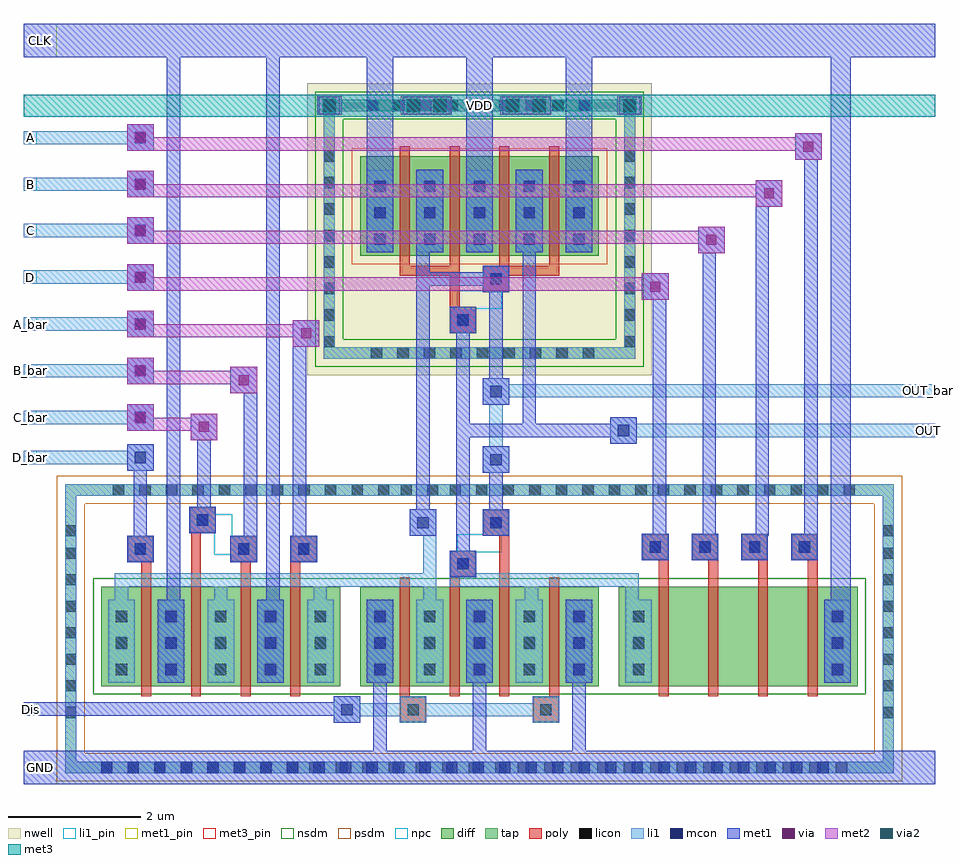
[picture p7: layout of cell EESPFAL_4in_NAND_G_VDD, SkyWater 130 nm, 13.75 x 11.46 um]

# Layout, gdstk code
import gdstk
lib = gdstk.Library(unit=1e-6, precision=1e-09)
def R(c, l, rs):  # rectangles x0, y0, x1, y1
    for r in rs: c.add(gdstk.rectangle(r[:2], r[2:], *l))
def A(c, l, x, y, w, h, nx, ny, dx, dy):  # array of equal rectangles
    R(c, l, [(x+i*dx, y+j*dy, x+i*dx+w, y+j*dy+h) for i in range(nx) for j in range(ny)])
nwell = (64, 20)
diff = (65, 20)
tap = (65, 44)
poly = (66, 20)
licon = (66, 44)
li1_pin = (67, 16)
li1 = (67, 20)
mcon = (67, 44)
met1_pin = (68, 16)
met1 = (68, 20)
via = (68, 44)
met2 = (69, 20)
via2 = (69, 44)
met3_pin = (70, 16)
met3 = (70, 20)
nsdm = (93, 44)
psdm = (94, 20)
npc = (95, 20)

eespfal_4in_nand_g_vdd = lib.new_cell('EESPFAL_4in_NAND_G_VDD')
R(eespfal_4in_nand_g_vdd, nwell, [(-28.8,5.91,-23.6,10.31)])
A(eespfal_4in_nand_g_vdd, diff, -31.9, 1.22, 3.6, 1.5, 3, 1, 3.9, 0)
R(eespfal_4in_nand_g_vdd, diff, [(-28,7.71,-24.4,9.21)])
R(eespfal_4in_nand_g_vdd, tap, [(-32.45,-0.09,-19.95,0.08), (-32.45,0.08,-32.28,4.095), (-20.12,0.08,-19.95,4.095), (-32.45,4.095,-19.95,4.265), (-28.55,6.16,-23.85,6.33), (-28.55,6.33,-28.38,9.89), (-24.02,6.33,-23.85,9.89), (-28.55,9.89,-23.85,10.06)])
A(eespfal_4in_nand_g_vdd, poly, -23.5, 1.07, 0.15, 2.05, 4, 1, 0.75, 0)
A(eespfal_4in_nand_g_vdd, poly, -23.75, 3.12, 0.4, 0.4, 4, 1, 0.75, 0)
A(eespfal_4in_nand_g_vdd, poly, -27.4, 7.56, 0.15, 1.8, 4, 1, 0.75, 0)
R(eespfal_4in_nand_g_vdd, poly, [(-27.4,0.665,-27,1.065), (-25.4,0.665,-25,1.065), (-27.4,1.065,-27.25,2.865), (-26.65,1.065,-26.5,2.865), (-25.9,1.065,-25.75,3.485), (-25.15,1.065,-25,2.865), (-31.3,1.07,-31.15,3.09), (-30.55,1.07,-30.4,3.525), (-29.8,1.07,-29.65,3.09), (-29.05,1.07,-28.9,3.09), (-26.65,2.865,-26.25,3.265), (-31.515,3.09,-31.115,3.49), (-29.955,3.09,-29.555,3.49), (-29.05,3.09,-28.65,3.49), (-26.15,3.485,-25.75,3.885), (-30.575,3.525,-30.175,3.925), (-26.65,6.54,-26.25,6.94), (-26.65,6.94,-26.5,7.41), (-26.15,7.16,-25.75,7.41), (-27.4,7.41,-26.5,7.56), (-26.15,7.41,-25,7.56)])
A(eespfal_4in_nand_g_vdd, licon, -31.905, -0.09, 0.17, 0.17, 8, 1, 0.4, 0)
A(eespfal_4in_nand_g_vdd, licon, -28.765, -0.09, 0.17, 0.17, 8, 1, 0.4, 0)
A(eespfal_4in_nand_g_vdd, licon, -25.625, -0.09, 0.17, 0.17, 13, 1, 0.4, 0)
A(eespfal_4in_nand_g_vdd, licon, -32.45, 0.74, 0.17, 0.17, 1, 7, 0, 0.4)
A(eespfal_4in_nand_g_vdd, licon, -20.12, 0.74, 0.17, 0.17, 1, 7, 0, 0.4)
A(eespfal_4in_nand_g_vdd, licon, -31.685, 1.385, 0.17, 0.17, 5, 3, 0.75, 0.4)
A(eespfal_4in_nand_g_vdd, licon, -27.785, 1.385, 0.17, 0.17, 5, 3, 0.75, 0.4)
A(eespfal_4in_nand_g_vdd, licon, -23.885, 1.385, 0.17, 0.17, 1, 3, 0, 0.4)
A(eespfal_4in_nand_g_vdd, licon, -20.885, 1.385, 0.17, 0.17, 1, 3, 0, 0.4)
A(eespfal_4in_nand_g_vdd, licon, -23.635, 3.235, 0.17, 0.17, 4, 1, 0.75, 0)
A(eespfal_4in_nand_g_vdd, licon, -31.73, 4.095, 0.17, 0.17, 11, 1, 0.4, 0)
A(eespfal_4in_nand_g_vdd, licon, -26.65, 4.095, 0.17, 0.17, 8, 1, 0.4, 0)
A(eespfal_4in_nand_g_vdd, licon, -23.51, 4.095, 0.17, 0.17, 8, 1, 0.4, 0)
A(eespfal_4in_nand_g_vdd, licon, -27.84, 6.16, 0.17, 0.17, 9, 1, 0.4, 0)
A(eespfal_4in_nand_g_vdd, licon, -28.55, 6.33, 0.17, 0.17, 1, 8, 0, 0.4)
A(eespfal_4in_nand_g_vdd, licon, -24.02, 6.33, 0.17, 0.17, 1, 8, 0, 0.4)
A(eespfal_4in_nand_g_vdd, licon, -27.785, 7.875, 0.17, 0.17, 5, 3, 0.75, 0.4)
A(eespfal_4in_nand_g_vdd, licon, -27.9, 9.89, 0.17, 0.17, 9, 1, 0.4, 0)
R(eespfal_4in_nand_g_vdd, licon, [(-27.285,0.78,-27.115,0.95), (-25.285,0.78,-25.115,0.95), (-26.535,2.98,-26.365,3.15), (-31.4,3.205,-31.23,3.375), (-29.84,3.205,-29.67,3.375), (-28.935,3.205,-28.765,3.375), (-32.45,3.48,-32.28,3.65), (-20.12,3.48,-19.95,3.65), (-26.035,3.6,-25.865,3.77), (-30.46,3.64,-30.29,3.81), (-27.39,4.095,-27.22,4.265), (-26.99,4.095,-26.82,4.265), (-26.535,6.655,-26.365,6.825), (-26.035,7.275,-25.865,7.445)])
A(eespfal_4in_nand_g_vdd, li1_pin, -33.075, 5.17, 0.2, 0.2, 1, 3, 0, 0.705)
A(eespfal_4in_nand_g_vdd, li1_pin, -33.075, 7.29, 0.2, 0.2, 1, 4, 0, 0.7)
R(eespfal_4in_nand_g_vdd, li1_pin, [(-33.075,4.57,-32.875,4.77), (-19.525,4.975,-19.325,5.175), (-19.525,5.575,-19.325,5.775)])
A(eespfal_4in_nand_g_vdd, li1, -31.8, 1.27, 0.4, 1.25, 5, 1, 0.75, 0)
A(eespfal_4in_nand_g_vdd, li1, -27.9, 1.27, 0.4, 1.25, 5, 2, 0.75, 6.49)
A(eespfal_4in_nand_g_vdd, li1, -31.7, 2.52, 0.2, 0.2, 3, 1, 1.5, 0)
A(eespfal_4in_nand_g_vdd, li1, -23.75, 3.12, 0.4, 0.4, 4, 1, 0.75, 0)
A(eespfal_4in_nand_g_vdd, li1, -31.515, 4.47, 0.4, 0.1, 1, 4, 0, 0.3)
A(eespfal_4in_nand_g_vdd, li1, -33.075, 5.17, 1.96, 0.2, 1, 3, 0, 0.705)
A(eespfal_4in_nand_g_vdd, li1, -33.075, 7.29, 1.96, 0.2, 1, 4, 0, 0.7)
R(eespfal_4in_nand_g_vdd, li1, [(-32.45,-0.09,-19.95,0.08), (-32.45,0.08,-32.28,4.095), (-20.12,0.08,-19.95,4.095), (-28.4,0.665,-28,0.765), (-27.4,0.665,-27,0.765), (-25.4,0.665,-25,0.765), (-28.4,0.765,-25,0.965), (-28.4,0.965,-28,1.065), (-27.4,0.965,-27,1.065), (-25.4,0.965,-25,1.065), (-24,1.27,-23.6,2.52), (-21,1.27,-20.6,2.52), (-27.05,2.52,-26.85,2.72), (-25.515,2.52,-25.315,2.72), (-24,2.52,-23.8,2.72), (-31.7,2.72,-26.85,2.92), (-26.65,2.72,-23.8,2.92), (-27.05,2.92,-26.85,3.485), (-26.65,2.92,-26.25,3.265), (-31.515,3.09,-31.115,3.49), (-29.955,3.09,-29.555,3.49), (-29.05,3.09,-28.65,3.49), (-27.25,3.485,-26.85,3.885), (-26.15,3.485,-25.75,3.885), (-30.575,3.525,-30.175,3.925), (-32.45,4.095,-19.95,4.265), (-26.15,4.435,-25.75,4.835), (-33.075,4.57,-31.115,4.77), (-26.05,4.835,-25.85,5.465), (-24.23,4.875,-23.83,4.975), (-24.23,4.975,-19.325,5.175), (-24.23,5.175,-23.83,5.275), (-26.15,5.465,-25.75,5.575), (-26.15,5.575,-19.325,5.775), (-31.515,5.775,-31.115,5.875), (-26.15,5.775,-25.75,5.865), (-31.515,6.075,-31.115,6.175), (-28.55,6.16,-23.85,6.33), (-28.55,6.33,-28.38,9.89), (-24.02,6.33,-23.85,9.89), (-31.515,6.48,-31.115,6.58), (-26.65,6.54,-26.25,6.94), (-31.515,6.78,-31.115,6.88), (-26.15,7.16,-25.75,7.56), (-31.515,7.185,-31.115,7.29), (-31.515,7.49,-31.115,7.585), (-31.515,7.89,-31.115,7.99), (-31.515,8.19,-31.115,8.29), (-31.515,8.59,-31.115,8.69), (-31.515,8.89,-31.115,8.99), (-31.515,9.295,-31.115,9.39), (-31.515,9.59,-31.115,9.695), (-28.55,9.89,-23.85,10.06)])
A(eespfal_4in_nand_g_vdd, mcon, -31.905, -0.09, 0.17, 0.17, 28, 1, 0.4, 0)
A(eespfal_4in_nand_g_vdd, mcon, -30.935, 1.385, 0.17, 0.17, 1, 3, 0, 0.4)
A(eespfal_4in_nand_g_vdd, mcon, -29.435, 1.385, 0.17, 0.17, 1, 3, 0, 0.4)
A(eespfal_4in_nand_g_vdd, mcon, -27.785, 1.385, 0.17, 0.17, 3, 3, 1.5, 0.4)
A(eespfal_4in_nand_g_vdd, mcon, -20.885, 1.385, 0.17, 0.17, 1, 3, 0, 0.4)
A(eespfal_4in_nand_g_vdd, mcon, -23.635, 3.235, 0.17, 0.17, 4, 1, 0.75, 0)
A(eespfal_4in_nand_g_vdd, mcon, -31.4, 5.185, 0.17, 0.17, 1, 5, 0, 0.705)
A(eespfal_4in_nand_g_vdd, mcon, -27.785, 7.875, 0.17, 0.17, 5, 3, 0.75, 0.4)
R(eespfal_4in_nand_g_vdd, mcon, [(-28.285,0.78,-28.115,0.95), (-26.535,2.98,-26.365,3.15), (-31.4,3.205,-31.23,3.375), (-29.84,3.205,-29.67,3.375), (-28.935,3.205,-28.765,3.375), (-27.135,3.6,-26.965,3.77), (-26.035,3.6,-25.865,3.77), (-30.46,3.64,-30.29,3.81), (-26.035,4.55,-25.865,4.72), (-31.4,4.585,-31.23,4.755), (-24.115,4.99,-23.945,5.16), (-26.035,5.58,-25.865,5.75), (-26.535,6.655,-26.365,6.825), (-26.035,7.275,-25.865,7.445), (-31.4,8.705,-31.23,8.875), (-31.4,9.41,-31.23,9.58), (-28.55,9.89,-28.38,10.06), (-27.285,9.89,-27.115,10.06), (-26.885,9.89,-26.715,10.06), (-25.785,9.89,-25.615,10.06), (-25.385,9.89,-25.215,10.06), (-24.02,9.89,-23.85,10.06)])
R(eespfal_4in_nand_g_vdd, met1_pin, [(-33.075,-0.255,-32.575,0.245), (-33.075,0.775,-32.875,0.975), (-33.075,10.705,-32.575,11.205)])
A(eespfal_4in_nand_g_vdd, met1, -27.8, 0.245, 0.2, 1.025, 3, 1, 1.5, 0)
A(eespfal_4in_nand_g_vdd, met1, -27.9, 1.27, 0.4, 1.25, 3, 1, 1.5, 0)
A(eespfal_4in_nand_g_vdd, met1, -31.515, 5.07, 0.4, 0.4, 1, 5, 0, 0.705)
A(eespfal_4in_nand_g_vdd, met1, -27.9, 7.76, 0.4, 2.945, 3, 1, 1.5, 0)
R(eespfal_4in_nand_g_vdd, met1, [(-33.075,-0.255,-19.325,0.245), (-28.4,0.665,-28,0.775), (-33.075,0.775,-28,0.975), (-28.4,0.975,-28,1.065), (-31.05,1.27,-30.65,2.52), (-29.55,1.27,-29.15,2.52), (-21,1.27,-20.6,2.52), (-30.915,2.52,-30.715,10.705), (-29.415,2.52,-29.215,10.705), (-20.9,2.52,-20.6,10.705), (-26.65,2.865,-26.25,3.265), (-31.515,3.09,-31.115,3.49), (-29.955,3.09,-29.555,3.49), (-29.05,3.09,-28.65,3.49), (-23.75,3.12,-23.35,3.52), (-23,3.12,-22.6,3.52), (-22.25,3.12,-21.85,3.49), (-21.5,3.12,-21.1,3.52), (-26.55,3.265,-26.35,4.975), (-27.25,3.485,-26.85,3.885), (-26.15,3.485,-25.75,3.885), (-31.415,3.49,-31.215,4.47), (-29.755,3.49,-29.555,5.635), (-29.015,3.49,-28.815,6.34), (-22.25,3.49,-21.835,3.52), (-23.585,3.52,-23.385,7.045), (-22.835,3.52,-22.635,7.75), (-22.035,3.52,-21.835,8.45), (-21.3,3.52,-21.1,9.155), (-30.575,3.525,-30.175,3.925), (-27.15,3.885,-26.95,7.26), (-26.05,3.885,-25.85,4.435), (-30.455,3.925,-30.255,4.93), (-26.15,4.435,-25.75,4.835), (-31.515,4.47,-31.115,4.87), (-24.23,4.875,-23.83,4.975), (-30.555,4.93,-30.155,5.33), (-26.55,4.975,-23.83,5.175), (-26.55,5.175,-26.35,6.54), (-25.55,5.175,-25.35,7.76), (-24.23,5.175,-23.83,5.275), (-26.15,5.465,-25.75,5.865), (-29.955,5.635,-29.555,6.035), (-26.05,5.865,-25.85,7.16), (-29.015,6.34,-28.615,6.74), (-26.65,6.54,-26.25,6.94), (-23.75,7.045,-23.35,7.445), (-26.15,7.16,-25.75,7.26), (-27.15,7.26,-25.75,7.46), (-27.15,7.46,-26.95,7.76), (-26.15,7.46,-25.75,7.56), (-22.905,7.75,-22.505,8.15), (-27.15,7.76,-26.75,9.01), (-25.65,7.76,-25.25,9.01), (-22.035,8.45,-21.635,8.85), (-31.515,8.59,-31.115,8.99), (-21.44,9.155,-21.04,9.555), (-31.515,9.295,-31.115,9.695), (-28.625,9.845,-28.305,10.105), (-27.36,9.845,-26.625,10.105), (-25.86,9.845,-25.125,10.105), (-24.095,9.845,-23.775,10.105), (-33.075,10.705,-19.325,11.205)])
A(eespfal_4in_nand_g_vdd, via, -31.39, 5.195, 0.15, 0.15, 1, 5, 0, 0.705)
R(eespfal_4in_nand_g_vdd, via, [(-30.43,5.055,-30.28,5.205), (-29.83,5.76,-29.68,5.91), (-28.89,6.465,-28.74,6.615), (-23.625,7.17,-23.475,7.32), (-22.78,7.875,-22.63,8.025), (-21.91,8.575,-21.76,8.725), (-31.39,8.715,-31.24,8.865), (-21.315,9.28,-21.165,9.43), (-31.39,9.42,-31.24,9.57), (-28.54,9.9,-28.39,10.05), (-27.275,9.9,-27.125,10.05), (-26.875,9.9,-26.725,10.05), (-25.775,9.9,-25.625,10.05), (-25.375,9.9,-25.225,10.05), (-24.01,9.9,-23.86,10.05)])
A(eespfal_4in_nand_g_vdd, met2, -31.515, 5.27, 0.4, 0.2, 1, 5, 0, 0.705)
R(eespfal_4in_nand_g_vdd, met2, [(-30.555,4.93,-30.155,5.07), (-31.515,5.07,-30.155,5.27), (-30.555,5.27,-30.155,5.33), (-29.955,5.635,-29.555,5.775), (-31.515,5.775,-29.555,5.975), (-29.955,5.975,-29.555,6.035), (-29.015,6.34,-28.615,6.48), (-31.515,6.48,-28.615,6.68), (-29.015,6.68,-28.615,6.74), (-23.75,7.045,-23.35,7.185), (-31.515,7.185,-23.35,7.385), (-23.75,7.385,-23.35,7.445), (-22.905,7.75,-22.505,7.89), (-31.515,7.89,-22.505,8.09), (-22.905,8.09,-22.505,8.15), (-22.035,8.45,-21.635,8.59), (-31.515,8.59,-21.635,8.79), (-31.515,8.79,-31.115,8.99), (-22.035,8.79,-21.635,8.85), (-21.44,9.155,-21.04,9.295), (-31.515,9.295,-21.04,9.495), (-31.515,9.495,-31.115,9.695), (-21.44,9.495,-21.04,9.555), (-28.65,9.835,-28.28,10.115), (-27.385,9.835,-26.615,10.115), (-25.885,9.835,-25.115,10.115), (-24.12,9.835,-23.75,10.115)])
R(eespfal_4in_nand_g_vdd, via2, [(-28.565,9.875,-28.365,10.075), (-27.3,9.875,-27.1,10.075), (-26.9,9.875,-26.7,10.075), (-25.8,9.875,-25.6,10.075), (-25.4,9.875,-25.2,10.075), (-24.035,9.875,-23.835,10.075)])
R(eespfal_4in_nand_g_vdd, met3_pin, [(-33.075,9.81,-19.325,10.14)])
R(eespfal_4in_nand_g_vdd, met3, [(-33.075,9.81,-19.325,10.14)])
R(eespfal_4in_nand_g_vdd, nsdm, [(-32.025,1.095,-20.375,2.845), (-28.675,6.035,-23.725,6.455), (-28.675,6.455,-28.255,9.765), (-24.145,6.455,-23.725,9.765), (-28.675,9.765,-23.725,10.185)])
R(eespfal_4in_nand_g_vdd, psdm, [(-32.575,-0.215,-19.825,0.205), (-32.575,0.205,-32.155,3.97), (-20.245,0.205,-19.825,3.97), (-32.575,3.97,-19.825,4.39), (-28.125,7.585,-24.275,9.335)])
A(eespfal_4in_nand_g_vdd, npc, -23.735, 3.135, 0.37, 0.37, 4, 1, 0.75, 0)
R(eespfal_4in_nand_g_vdd, npc, [(-27.385,0.68,-27.015,1.05), (-25.385,0.68,-25.015,1.05), (-26.635,2.88,-26.265,3.24), (-31.5,3.105,-31.13,3.475), (-29.94,3.105,-29.57,3.205), (-29.035,3.105,-28.665,3.475), (-30.2,3.205,-29.57,3.475), (-26.635,3.24,-25.865,3.25), (-26.535,3.25,-25.865,3.5), (-30.2,3.475,-29.93,3.54), (-26.535,3.5,-25.765,3.51), (-26.135,3.51,-25.765,3.87), (-30.56,3.54,-29.93,3.81), (-30.56,3.81,-30.19,3.91), (-26.635,6.555,-26.265,6.915), (-26.635,6.915,-25.865,6.925), (-26.535,6.925,-25.865,7.175), (-26.535,7.175,-25.765,7.185), (-26.135,7.185,-25.765,7.545)])
eespfal_4in_nand_g_vdd.add(gdstk.Label('A', (-32.975,9.49), layer=67, texttype=5))
eespfal_4in_nand_g_vdd.add(gdstk.Label('A_bar', (-32.975,6.68), layer=67, texttype=5))
eespfal_4in_nand_g_vdd.add(gdstk.Label('B', (-32.975,8.79), layer=67, texttype=5))
eespfal_4in_nand_g_vdd.add(gdstk.Label('B_bar', (-32.975,5.975), layer=67, texttype=5))
eespfal_4in_nand_g_vdd.add(gdstk.Label('C', (-32.975,8.09), layer=67, texttype=5))
eespfal_4in_nand_g_vdd.add(gdstk.Label('C_bar', (-32.975,5.27), layer=67, texttype=5))
eespfal_4in_nand_g_vdd.add(gdstk.Label('D', (-32.975,7.39), layer=67, texttype=5))
eespfal_4in_nand_g_vdd.add(gdstk.Label('D_bar', (-32.975,4.67), layer=67, texttype=5))
eespfal_4in_nand_g_vdd.add(gdstk.Label('OUT_bar', (-19.425,5.675), layer=67, texttype=5))
eespfal_4in_nand_g_vdd.add(gdstk.Label('OUT', (-19.425,5.075), layer=67, texttype=5))
eespfal_4in_nand_g_vdd.add(gdstk.Label('VDD', (-26.2,9.975), layer=70, texttype=5))
eespfal_4in_nand_g_vdd.add(gdstk.Label('Dis', (-32.975,0.875), layer=68, texttype=5))
eespfal_4in_nand_g_vdd.add(gdstk.Label('GND', (-32.825,-0.005), layer=68, texttype=5))
eespfal_4in_nand_g_vdd.add(gdstk.Label('CLK', (-32.825,10.955), layer=68, texttype=5))

lib.write_gds('EESPFAL_4in_NAND_G_VDD.gds')
